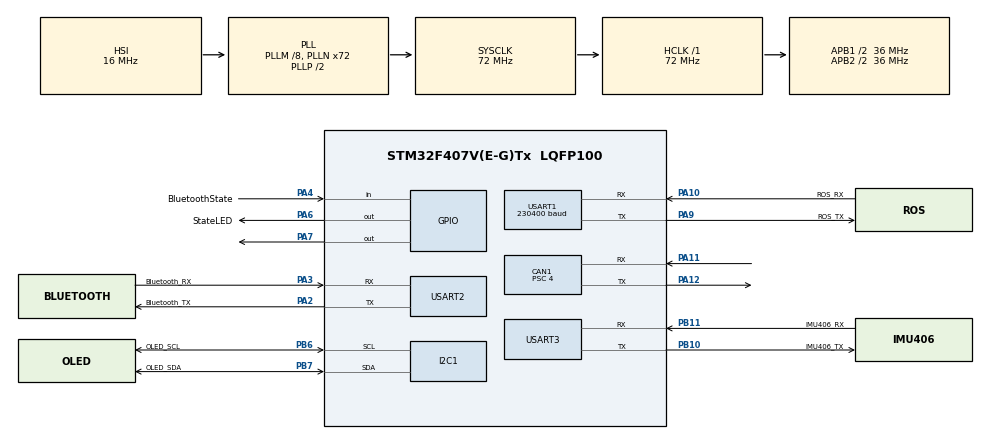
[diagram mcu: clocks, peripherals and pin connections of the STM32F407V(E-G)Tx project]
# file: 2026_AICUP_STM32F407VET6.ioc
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CAN1.ABOM=ENABLE
CAN1.BS1=CAN_BS1_4TQ
CAN1.BS2=CAN_BS2_4TQ
CAN1.CalculateBaudRate=1000000
CAN1.CalculateTimeBit=1000
CAN1.CalculateTimeQuantum=111.11111111111111
CAN1.NART=ENABLE
CAN1.Prescaler=4
CAN1.SJW=CAN_SJW_1TQ
I2C1.I2C_Mode=I2C_Fast
Mcu.Family=STM32F4
Mcu.Name=STM32F407V(E-G)Tx
Mcu.Package=LQFP100
NVIC.CAN1_RX0_IRQn=true\:3\:0\:true\:false\:true\:true\:true\:true
NVIC.PriorityGroup=NVIC_PRIORITYGROUP_4
NVIC.TIM2_IRQn=true\:0\:0\:false\:false\:true\:true\:true\:true
NVIC.USART1_IRQn=true\:0\:0\:true\:false\:true\:true\:true\:true
NVIC.USART2_IRQn=true\:1\:0\:true\:false\:true\:true\:true\:true
NVIC.USART3_IRQn=true\:1\:0\:true\:false\:true\:true\:true\:true
PA10.GPIO_Label=ROS_RX
PA10.Mode=Asynchronous
PA10.Signal=USART1_RX
PA11.Mode=CAN_Activate
PA11.Signal=CAN1_RX
PA12.Mode=CAN_Activate
PA12.Signal=CAN1_TX
PA13.Mode=Serial_Wire
PA13.Signal=SYS_JTMS-SWDIO
PA14.Mode=Serial_Wire
PA14.Signal=SYS_JTCK-SWCLK
PA2.GPIO_Label=Bluetooth_TX
PA2.Mode=Asynchronous
PA2.Signal=USART2_TX
PA3.GPIO_Label=Bluetooth_RX
PA3.Mode=Asynchronous
PA3.Signal=USART2_RX
PA4.GPIO_Label=BluetoothState
PA4.Signal=GPIO_Input
PA6.GPIO_Label=StateLED
PA6.Signal=GPIO_Output
PA7.PinState=GPIO_PIN_SET
PA7.Signal=GPIO_Output
PA9.GPIO_Label=ROS_TX
PA9.Mode=Asynchronous
PA9.Signal=USART1_TX
PB10.GPIO_Label=IMU406_TX
PB10.Mode=Asynchronous
PB10.Signal=USART3_TX
PB11.GPIO_Label=IMU406_RX
PB11.Mode=Asynchronous
PB11.Signal=USART3_RX
PB6.GPIO_Label=OLED_SCL
PB6.Mode=I2C
PB6.Signal=I2C1_SCL
PB7.GPIO_Label=OLED_SDA
PB7.Mode=I2C
PB7.Signal=I2C1_SDA
PC14-OSC32_IN.Mode=LSE-External-Oscillator
PC14-OSC32_IN.Signal=RCC_OSC32_IN
PC15-OSC32_OUT.Mode=LSE-External-Oscillator
PC15-OSC32_OUT.Signal=RCC_OSC32_OUT
PH0-OSC_IN.Mode=HSE-External-Oscillator
PH0-OSC_IN.Signal=RCC_OSC_IN
PH1-OSC_OUT.Mode=HSE-External-Oscillator
PH1-OSC_OUT.Signal=RCC_OSC_OUT
ProjectManager.HeapSize=0x200
ProjectManager.StackSize=0x400
ProjectManager.TargetToolchain=CMake
RCC.48MHZClocksFreq_Value=36000000
RCC.AHBFreq_Value=72000000
RCC.APB1CLKDivider=RCC_HCLK_DIV2
RCC.APB1Freq_Value=36000000
RCC.APB1TimFreq_Value=72000000
RCC.APB2CLKDivider=RCC_HCLK_DIV2
RCC.APB2Freq_Value=36000000
RCC.APB2TimFreq_Value=72000000
RCC.CortexFreq_Value=72000000
RCC.HCLKFreq_Value=72000000
RCC.HSE_VALUE=8000000
RCC.HSI_VALUE=16000000
RCC.PLLM=8
RCC.PLLN=72
RCC.SYSCLKFreq_VALUE=72000000
RCC.SYSCLKSource=RCC_SYSCLKSOURCE_PLLCLK
RCC.VCOOutputFreq_Value=144000000
TIM2.AutoReloadPreload=TIM_AUTORELOAD_PRELOAD_ENABLE
TIM2.CounterMode=TIM_COUNTERMODE_DOWN
TIM2.Period=999
TIM2.Prescaler=7199
USART1.BaudRate=230400
USART1.VirtualMode=VM_ASYNC
USART2.VirtualMode=VM_ASYNC
USART3.VirtualMode=VM_ASYNC
VP_TIM2_VS_ClockSourceINT.Mode=Internal
board=custom

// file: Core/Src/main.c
/* USER CODE BEGIN Header */
/**
  ******************************************************************************
  * @file           : main.c
  * @brief          : Main program body
  ******************************************************************************
  * @attention
  *
  * Copyright (c) 2025 STMicroelectronics.
  * All rights reserved.
  *
  * This software is licensed under terms that can be found in the LICENSE file
  * in the root directory of this software component.
  * If no LICENSE file comes with this software, it is provided AS-IS.
  *
  ******************************************************************************
  */
/* USER CODE END Header */
#include "main.h"
#include "can.h"
#include "i2c.h"
#include "tim.h"
#include "usart.h"
#include "gpio.h"

/* USER CODE BEGIN Includes */
#include "MecanumWheelPlatform.h"
#include "oled.h"
#include <stdio.h>
#include <stdlib.h>
#include "Bluetooth.h"
/* USER CODE END Includes */

void SystemClock_Config(void);
/* USER CODE BEGIN PFP */
void OLED_Show_Data(void);
char* float_to_str(float value, char* buffer);
void Human_Control(void);
/* USER CODE END PFP */

int main(void)
{

  /* MCU Configuration--------------------------------------------------------*/

  /* Reset of all peripherals, Initializes the Flash interface and the Systick. */
  HAL_Init();

  /* Configure the system clock */
  SystemClock_Config();

  /* Initialize all configured peripherals */
  MX_GPIO_Init();
  MX_USART3_UART_Init();
  MX_I2C1_Init();
  MX_CAN1_Init();
  MX_USART2_UART_Init();
  MX_USART1_UART_Init();
  MX_TIM2_Init();
  /* USER CODE BEGIN 2 */
    OLED_Init();
    HAL_Delay(100);
    OLED_DisPlay_On();
    OLED_NewFrame();
    OLED_DrawImage(0, 5, &ScuImg, OLED_COLOR_NORMAL);
    OLED_ShowFrame();
    MecnaumuWheelPlatform_Init();
    Bluetooth_Init();
    HAL_TIM_Base_Start_IT(&htim2);
  /* USER CODE END 2 */

  /* Infinite loop */
  /* USER CODE BEGIN WHILE */
  while (1)
  {
      //OLED_Show_Data();
      Human_Control();
//
//      f_ROS.linear_x = 0;
//      f_ROS.linear_y = 0;
//      f_ROS.angular_z = 0;

    /* USER CODE END WHILE */

  }
}

void SystemClock_Config(void)
{
  RCC_OscInitTypeDef RCC_OscInitStruct = {0};
  RCC_ClkInitTypeDef RCC_ClkInitStruct = {0};

  /** Configure the main internal regulator output voltage
  */
  __HAL_RCC_PWR_CLK_ENABLE();
  __HAL_PWR_VOLTAGESCALING_CONFIG(PWR_REGULATOR_VOLTAGE_SCALE1);

  /** Initializes the RCC Oscillators according to the specified parameters
  * in the RCC_OscInitTypeDef structure.
  */
  RCC_OscInitStruct.OscillatorType = RCC_OSCILLATORTYPE_HSI;
  RCC_OscInitStruct.HSIState = RCC_HSI_ON;
  RCC_OscInitStruct.HSICalibrationValue = RCC_HSICALIBRATION_DEFAULT;
  RCC_OscInitStruct.PLL.PLLState = RCC_PLL_ON;
  RCC_OscInitStruct.PLL.PLLSource = RCC_PLLSOURCE_HSI;
  RCC_OscInitStruct.PLL.PLLM = 8;
  RCC_OscInitStruct.PLL.PLLN = 72;
  RCC_OscInitStruct.PLL.PLLP = RCC_PLLP_DIV2;
  RCC_OscInitStruct.PLL.PLLQ = 4;
  if (HAL_RCC_OscConfig(&RCC_OscInitStruct) != HAL_OK)
  {
    Error_Handler();
  }

  /** Initializes the CPU, AHB and APB buses clocks
  */
  RCC_ClkInitStruct.ClockType = RCC_CLOCKTYPE_HCLK|RCC_CLOCKTYPE_SYSCLK
                              |RCC_CLOCKTYPE_PCLK1|RCC_CLOCKTYPE_PCLK2;
  RCC_ClkInitStruct.SYSCLKSource = RCC_SYSCLKSOURCE_PLLCLK;
  RCC_ClkInitStruct.AHBCLKDivider = RCC_SYSCLK_DIV1;
  RCC_ClkInitStruct.APB1CLKDivider = RCC_HCLK_DIV2;
  RCC_ClkInitStruct.APB2CLKDivider = RCC_HCLK_DIV2;

  if (HAL_RCC_ClockConfig(&RCC_ClkInitStruct, FLASH_LATENCY_2) != HAL_OK)
  {
    Error_Handler();
  }
}

/* USER CODE BEGIN 4 */
void OLED_Show_Data() {
    OLED_NewFrame();
    snprintf(oled_buffer, sizeof(oled_buffer), "%ld", IMU406_YAW);
    OLED_PrintASCIIString(0, 0, "YAW:", &afont8x6, OLED_COLOR_NORMAL);
    OLED_PrintASCIIString(24, 0, oled_buffer, &afont8x6, OLED_COLOR_NORMAL);
//
//    snprintf(oled_buffer, sizeof(oled_buffer), "%ld", IMU406_PITCH);
//    OLED_PrintASCIIString(64, 8, "PIT:", &afont8x6, OLED_COLOR_NORMAL);
//    OLED_PrintASCIIString(88, 8, oled_buffer, &afont8x6, OLED_COLOR_NORMAL);
//
//    snprintf(oled_buffer, sizeof(oled_buffer), "%ld", IMU406_ROLL);
//    OLED_PrintASCIIString(0, 8, "ROL:", &afont8x6, OLED_COLOR_NORMAL);
//    OLED_PrintASCIIString(24, 8, oled_buffer, &afont8x6, OLED_COLOR_NORMAL);
//
//    snprintf(oled_buffer, sizeof(oled_buffer), "%d", JOYSTICK_FB);
//    OLED_PrintASCIIString(0, 20, "Joy_X:", &afont8x6, OLED_COLOR_NORMAL);
//    OLED_PrintASCIIString(36, 20, oled_buffer, &afont8x6, OLED_COLOR_NORMAL);
//
//    snprintf(oled_buffer, sizeof(oled_buffer), "%d", JOYSTICK_LR);
//    OLED_PrintASCIIString(66, 20, "Joy_y:", &afont8x6, OLED_COLOR_NORMAL);
//    OLED_PrintASCIIString(102, 20, oled_buffer, &afont8x6, OLED_COLOR_NORMAL);
//
//    snprintf(oled_buffer, sizeof(oled_buffer), "%d", JOYSTICK_Z);
//    OLED_PrintASCIIString(0, 28, "Joy_Z:", &afont8x6, OLED_COLOR_NORMAL);
//    OLED_PrintASCIIString(36, 28, oled_buffer, &afont8x6, OLED_COLOR_NORMAL);

//    float_to_str(t_ROS.v_x, oled_buffer);
//    OLED_PrintASCIIString(0, 40, "X:", &afont8x6, OLED_COLOR_NORMAL);
//    OLED_PrintASCIIString(12, 40, oled_buffer, &afont8x6, OLED_COLOR_NORMAL);
//
//    float_to_str(t_ROS.v_y, oled_buffer);
//    OLED_PrintASCIIString(66, 40, "Y:", &afont8x6, OLED_COLOR_NORMAL);
//    OLED_PrintASCIIString(78, 40, oled_buffer, &afont8x6, OLED_COLOR_NORMAL);
////
//    float_to_str(motor[2].current_speed, oled_buffer);
//    OLED_PrintASCIIString(0, 48, "C:", &afont8x6, OLED_COLOR_NORMAL);
//    OLED_PrintASCIIString(12, 48, oled_buffer, &afont8x6, OLED_COLOR_NORMAL);
//
//    float_to_str((float)-1.123, oled_buffer);
//    OLED_PrintASCIIString(66, 48, "D:", &afont8x6, OLED_COLOR_NORMAL);
//    OLED_PrintASCIIString(78, 48, oled_buffer, &afont8x6, OLED_COLOR_NORMAL);
//
//    if (HAL_GPIO_ReadPin(GPIOA, BluetoothState_Pin) == GPIO_PIN_RESET) {
//        JOYSTICK_Z = false;
//        OLED_PrintASCIIString(66, 28, "BT_OFF", &afont8x6, OLED_COLOR_NORMAL);
//    }
//    else {
//        OLED_PrintASCIIString(66, 28, "BT_ON", &afont8x6, OLED_COLOR_NORMAL);
//    }

    OLED_ShowFrame();
}

char* float_to_str(float value, char* buffer) {
    int bp = (int) value;
    float ap = abs((value - (float) bp) * 100);
    snprintf(buffer, sizeof(buffer), "%d%d", bp, (int)ap);

    return buffer;
}

void Human_Control(void) {
    if (HAL_GPIO_ReadPin(GPIOA, BluetoothState_Pin) == GPIO_PIN_SET) {
        if (JOYSTICK_FB == 0x46) {
            f_ROS.linear_x = 0.2;
        } else if (JOYSTICK_FB == 0x42){
            f_ROS.linear_x = -0.2;
        }
        else {
            f_ROS.linear_x = 0;
        }

        if (JOYSTICK_Z == 0x01) {
            if (JOYSTICK_LR == 0x4C) {
                f_ROS.linear_y = -0.2;
            } else if (JOYSTICK_LR == 0x52){
                f_ROS.linear_y = 0.2;
            }
            else {
                f_ROS.linear_y = 0;
            }
        }
        else if (JOYSTICK_Z == 0x00) {
            if (JOYSTICK_LR == 0x4C) {
                f_ROS.angular_z = 1;
            } else if (JOYSTICK_LR == 0x52){
                f_ROS.angular_z = -1;
            }
            else {
                f_ROS.angular_z = 0;
            }
        }

    }

}

/* USER CODE END 4 */

void Error_Handler(void)
{
  __disable_irq();
  while (1)
  {
  }
}
